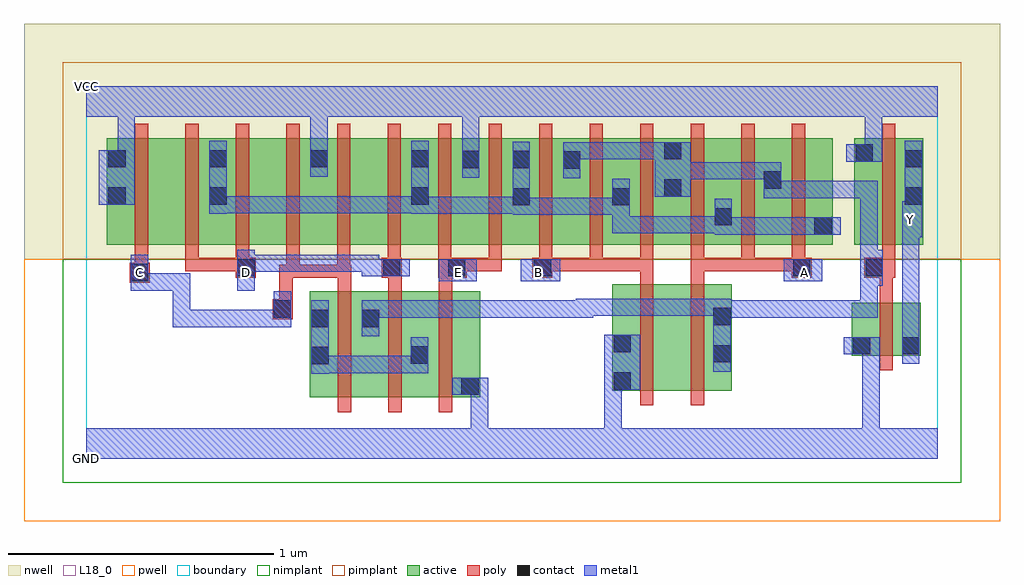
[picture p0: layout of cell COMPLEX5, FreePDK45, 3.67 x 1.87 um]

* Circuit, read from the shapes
.subckt COMPLEX5 A B C D E GND VCC Y
M1 n1 C n2 VSUBS nfet w=0.4u l=0.05u
M2 n2 D n1 VSUBS nfet w=0.4u l=0.05u
M3 GND E n2 VSUBS nfet w=0.4u l=0.05u
M4 n3 B GND VSUBS nfet w=0.4u l=0.05u
M5 n1 A n3 VSUBS nfet w=0.4u l=0.05u
M6 Y n1 GND VSUBS nfet w=0.2u l=0.05u
M7 n4 C VCC n5 pfet w=0.4u l=0.05u
M8 n6 D n4 n5 pfet w=0.4u l=0.05u
M9 n7 D n6 n5 pfet w=0.4u l=0.05u
M10 VCC C n7 n5 pfet w=0.4u l=0.05u
M11 n8 C VCC n5 pfet w=0.4u l=0.05u
M12 n6 D n8 n5 pfet w=0.4u l=0.05u
M13 VCC E n6 n5 pfet w=0.4u l=0.05u m=2
M14 n1 B n6 n5 pfet w=0.4u l=0.05u m=3
M15 n6 A n1 n5 pfet w=0.4u l=0.05u m=3
M16 Y n1 VCC n5 pfet w=0.4u l=0.05u
.ends

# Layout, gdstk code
import gdstk
lib = gdstk.Library(unit=1e-6, precision=1e-09)
def R(c, l, rs):  # rectangles x0, y0, x1, y1
    for r in rs: c.add(gdstk.rectangle(r[:2], r[2:], *l))
def A(c, l, x, y, w, h, nx, ny, dx, dy):  # array of equal rectangles
    R(c, l, [(x+i*dx, y+j*dy, x+i*dx+w, y+j*dy+h) for i in range(nx) for j in range(ny)])
active = (1, 0)
pwell = (2, 0)
nwell = (3, 0)
nimplant = (4, 0)
pimplant = (5, 0)
poly = (9, 0)
contact = (10, 0)
metal1 = (11, 0)
L18_0 = (18, 0)
boundary = (235, 0)

complex5 = lib.new_cell('COMPLEX5')
A(complex5, active, 0.077, 0.805, 0.225, 0.4, 3, 1, 0.38, 0)
A(complex5, active, 0.302, 0.805, 0.23, 0.4, 3, 1, 0.38, 0)
A(complex5, active, 1.217, 0.805, 0.265, 0.4, 3, 1, 0.19, 0)
R(complex5, active, [(0.84,0.23,1.105,0.63), (1.03,0.23,1.29,0.63), (1.215,0.23,1.48,0.63), (1.215,0.23,1.29,0.597), (1.405,0.23,1.48,0.63), (1.977,0.255,2.202,0.655), (1.977,0.255,2.052,0.655), (2.202,0.255,2.427,0.655), (0.84,0.295,0.915,0.63), (1.03,0.295,1.105,0.565), (2.352,0.295,2.427,0.655), (2.877,0.387,2.952,0.587), (2.877,0.387,3.137,0.587), (3.062,0.387,3.137,0.587), (0.077,0.805,0.152,1.205), (1.787,0.805,2.047,1.205), (1.972,0.805,2.047,1.07), (1.972,0.805,2.242,1.205), (2.167,0.805,2.432,1.205), (2.357,0.805,2.617,1.205), (2.357,0.805,2.432,1.07), (2.542,0.805,2.807,1.205), (2.732,0.805,2.807,1.047), (2.887,0.805,3.147,1.205), (3.072,0.805,3.147,1.2), (0.457,0.907,0.532,1.2), (0.837,0.907,0.912,1.205), (1.217,0.907,1.292,1.2), (1.407,0.907,1.482,1.205), (1.597,0.907,1.672,1.2), (1.787,0.907,1.862,1.2), (2.167,0.907,2.242,1.2), (2.542,0.907,2.617,1.2), (2.887,0.907,2.962,1.205)])
R(complex5, pwell, [(-0.235,-0.235,3.435,0.75)])
R(complex5, nwell, [(-0.235,0.75,3.435,1.635)])
R(complex5, nimplant, [(-0.09,-0.09,3.29,0.75)])
R(complex5, pimplant, [(-0.09,0.75,3.29,1.49)])
A(complex5, poly, 0.945, 0.175, 0.05, 0.51, 3, 1, 0.19, 0)
A(complex5, poly, 0.945, 0.635, 0.05, 0.095, 3, 1, 0.19, 0)
A(complex5, poly, 1.132, 0.705, 0.05, 0.095, 9, 1, 0.19, 0)
A(complex5, poly, 1.702, 0.705, 0.05, 0.05, 3, 1, 0.19, 0)
A(complex5, poly, 2.272, 0.705, 0.05, 0.05, 3, 1, 0.19, 0)
A(complex5, poly, 0.182, 0.75, 0.05, 0.51, 14, 1, 0.19, 0)
R(complex5, poly, [(2.082,0.2,2.132,0.71), (2.272,0.2,2.322,0.71), (2.982,0.332,3.032,0.642), (0.7,0.525,0.775,0.6), (0.725,0.55,0.775,0.73), (2.982,0.592,3.032,0.73), (2.082,0.66,2.132,0.755), (2.272,0.66,2.322,0.755), (0.162,0.662,0.237,0.737), (0.562,0.68,0.637,0.755), (0.725,0.68,0.775,0.73), (0.725,0.68,0.775,0.73), (0.725,0.68,0.802,0.73), (0.752,0.68,0.992,0.73), (0.752,0.68,0.802,0.8), (0.942,0.68,0.992,0.73), (0.942,0.68,0.992,0.73), (0.942,0.68,0.992,0.8), (0.942,0.68,0.995,0.73), (1.11,0.68,1.185,0.755), (1.322,0.68,1.43,0.755), (1.677,0.68,1.752,0.755), (2.652,0.68,2.727,0.755), (2.925,0.68,3.042,0.755), (0.182,0.687,0.232,0.8), (0.372,0.705,0.422,0.8), (0.372,0.705,0.422,0.755), (0.372,0.705,0.612,0.755), (0.562,0.705,0.612,0.8), (0.562,0.705,0.612,0.755), (0.562,0.705,0.612,0.755), (1.38,0.705,1.43,0.755), (1.38,0.705,1.43,0.755), (1.38,0.705,1.562,0.755), (1.512,0.705,1.562,0.755), (1.702,0.705,1.752,0.755), (1.702,0.705,1.942,0.755), (1.892,0.705,2.132,0.755), (2.082,0.705,2.132,0.755), (2.082,0.705,2.132,0.755), (2.272,0.705,2.322,0.755), (2.272,0.705,2.322,0.755), (2.272,0.705,2.512,0.755), (2.462,0.705,2.702,0.755), (2.652,0.705,2.702,0.755), (2.992,0.705,3.042,0.8), (2.992,0.75,3.042,1.26)])
A(complex5, contact, 0.082, 1.095, 0.065, 0.065, 4, 1, 0.38, 0)
R(complex5, contact, [(1.41,0.24,1.475,0.305), (1.982,0.26,2.047,0.325), (0.845,0.355,0.91,0.42), (1.22,0.357,1.285,0.422), (2.357,0.362,2.422,0.427), (2.882,0.392,2.947,0.457), (3.067,0.392,3.132,0.457), (1.982,0.4,2.047,0.465), (0.845,0.495,0.91,0.56), (1.035,0.495,1.1,0.56), (2.357,0.502,2.422,0.567), (0.705,0.53,0.77,0.595), (0.167,0.667,0.232,0.732), (0.567,0.685,0.632,0.75), (1.115,0.685,1.18,0.75), (1.36,0.685,1.425,0.75), (1.682,0.685,1.747,0.75), (2.657,0.685,2.722,0.75), (2.93,0.685,2.995,0.75), (2.737,0.842,2.802,0.907), (2.362,0.877,2.427,0.942), (1.602,0.952,1.667,1.017), (1.977,0.952,2.042,1.017), (0.082,0.955,0.147,1.02), (0.462,0.955,0.527,1.02), (1.222,0.955,1.287,1.02), (3.077,0.955,3.142,1.02), (2.172,0.985,2.237,1.05), (2.547,1.015,2.612,1.08), (1.792,1.09,1.857,1.155), (1.412,1.092,1.477,1.157), (1.602,1.092,1.667,1.157), (3.077,1.095,3.142,1.16), (2.892,1.117,2.957,1.182), (2.172,1.125,2.237,1.19)])
R(complex5, metal1, [(0,0,3.2,0.115), (1.445,0.05,1.51,0.115), (1.445,0.05,1.51,0.115), (1.445,0.05,1.51,0.305), (1.947,0.05,2.012,0.325), (1.947,0.05,2.012,0.115), (1.947,0.05,2.012,0.115), (2.917,0.05,2.982,0.115), (2.917,0.05,2.982,0.115), (2.917,0.05,2.982,0.115), (2.917,0.05,2.982,0.115), (2.917,0.05,2.982,0.457), (1.375,0.24,1.51,0.305), (1.947,0.26,2.082,0.465), (0.845,0.32,0.91,0.595), (0.845,0.322,0.91,0.387), (0.845,0.322,0.91,0.387), (0.845,0.322,1.1,0.387), (1.035,0.322,1.1,0.387), (1.035,0.322,1.1,0.387), (1.035,0.322,1.1,0.387), (1.035,0.322,1.285,0.387), (1.22,0.322,1.285,0.457), (2.357,0.327,2.422,0.602), (3.067,0.357,3.132,0.492), (2.847,0.392,2.982,0.457), (2.917,0.392,2.982,0.457), (2.917,0.392,2.982,0.457), (3.067,0.427,3.132,0.897), (1.035,0.46,1.1,0.595), (0.325,0.495,0.39,0.56), (0.325,0.495,0.527,0.56), (0.325,0.495,0.39,0.697), (0.462,0.495,0.527,0.56), (0.462,0.495,0.77,0.56), (0.705,0.495,0.77,0.63), (0.705,0.495,0.77,0.56), (0.705,0.495,0.77,0.56), (0.705,0.495,0.77,0.56), (0.705,0.495,0.77,0.56), (1.035,0.53,1.237,0.595), (1.172,0.53,1.237,0.595), (1.172,0.53,1.237,0.595), (1.172,0.53,1.237,0.595), (1.172,0.53,1.375,0.595), (1.31,0.53,1.375,0.595), (1.31,0.53,1.512,0.595), (1.447,0.53,1.512,0.595), (1.447,0.53,1.512,0.595), (1.447,0.53,1.512,0.595), (1.447,0.53,1.72,0.595), (1.655,0.53,1.72,0.595), (1.655,0.53,1.72,0.595), (1.655,0.53,1.72,0.595), (1.655,0.53,1.875,0.595), (1.81,0.53,1.875,0.595), (1.81,0.53,1.905,0.595), (1.84,0.53,1.905,0.602), (2.357,0.53,2.422,0.595), (2.357,0.53,2.422,0.595), (2.357,0.53,2.612,0.595), (2.547,0.53,2.612,0.595), (2.547,0.53,2.612,0.595), (2.547,0.53,2.612,0.595), (2.547,0.53,2.75,0.595), (2.685,0.53,2.75,0.595), (2.685,0.53,2.975,0.595), (2.91,0.53,2.975,0.595), (2.91,0.53,2.975,0.785), (1.84,0.537,2.065,0.602), (2,0.537,2.065,0.602), (2,0.537,2.065,0.602), (2,0.537,2.065,0.602), (2,0.537,2.22,0.602), (2.155,0.537,2.22,0.602), (2.155,0.537,2.22,0.602), (2.155,0.537,2.22,0.602), (2.155,0.537,2.422,0.602), (0.167,0.632,0.232,0.767), (0.167,0.632,0.232,0.697), (0.167,0.632,0.232,0.697), (0.167,0.632,0.39,0.697), (0.325,0.632,0.39,0.697), (0.325,0.632,0.39,0.697), (0.325,0.632,0.39,0.697), (0.567,0.632,0.632,0.785), (2.93,0.65,2.995,0.785), (1.325,0.667,1.467,0.75), (1.632,0.667,1.782,0.75), (2.622,0.667,2.767,0.75), (1.035,0.685,1.145,0.75), (1.035,0.685,1.1,0.767), (1.08,0.685,1.215,0.75), (0.567,0.702,0.77,0.767), (0.705,0.702,0.77,0.767), (0.705,0.702,0.77,0.767), (0.705,0.702,0.77,0.767), (0.705,0.702,0.962,0.767), (0.897,0.702,0.962,0.767), (0.897,0.702,0.962,0.767), (0.897,0.702,0.962,0.767), (0.897,0.702,1.1,0.767), (2.91,0.72,2.995,0.785), (2.91,0.72,2.975,0.785), (2.91,0.72,2.975,1.045), (3.067,0.832,3.142,0.967), (2.362,0.842,2.427,0.977), (2.362,0.842,2.427,0.907), (2.362,0.842,2.427,0.907), (2.362,0.842,2.565,0.907), (2.5,0.842,2.565,0.907), (2.5,0.842,2.565,0.907), (2.5,0.842,2.565,0.907), (2.5,0.842,2.767,0.907), (2.702,0.842,2.837,0.907), (1.977,0.847,2.042,0.982), (1.977,0.847,2.272,0.912), (2.207,0.847,2.272,0.912), (2.207,0.847,2.272,0.912), (2.207,0.847,2.272,0.912), (2.207,0.847,2.427,0.912), (3.077,0.902,3.142,0.985), (1.602,0.917,1.667,1.192), (1.602,0.917,1.667,0.982), (1.602,0.917,1.667,0.982), (1.602,0.917,1.857,0.982), (1.792,0.917,1.857,0.982), (1.792,0.917,1.857,0.982), (1.792,0.917,1.857,0.982), (1.792,0.917,2.042,0.982), (1.977,0.917,2.042,1.052), (1.977,0.917,2.042,0.982), (0.462,0.92,0.527,1.195), (1.222,0.92,1.287,1.195), (1.222,0.92,1.375,0.985), (1.31,0.92,1.375,0.985), (1.31,0.92,1.53,0.985), (1.465,0.92,1.53,0.985), (1.465,0.92,1.53,0.985), (1.465,0.92,1.53,0.985), (1.465,0.92,1.667,0.985), (3.077,0.92,3.142,1.195), (0.462,0.922,0.527,0.987), (0.462,0.922,0.527,0.987), (0.462,0.922,0.77,0.987), (0.705,0.922,0.77,0.987), (0.705,0.922,0.77,0.987), (0.705,0.922,0.77,0.987), (0.705,0.922,0.907,0.987), (0.842,0.922,0.907,0.987), (0.842,0.922,0.907,0.987), (0.842,0.922,0.907,0.987), (0.842,0.922,1.1,0.987), (1.035,0.922,1.1,0.987), (1.035,0.922,1.1,0.987), (1.035,0.922,1.1,0.987), (1.035,0.922,1.287,0.987), (0.047,0.955,0.182,1.16), (2.547,0.98,2.612,1.115), (2.547,0.98,2.775,1.045), (2.71,0.98,2.775,1.045), (2.71,0.98,2.775,1.045), (2.71,0.98,2.775,1.045), (2.71,0.98,2.975,1.045), (2.91,0.98,2.975,1.045), (2.91,0.98,2.975,1.045), (2.91,0.98,2.975,1.045), (2.137,0.985,2.272,1.19), (2.207,1.05,2.272,1.115), (2.207,1.05,2.272,1.115), (2.207,1.05,2.41,1.115), (2.345,1.05,2.41,1.115), (2.345,1.05,2.41,1.115), (2.345,1.05,2.41,1.115), (2.345,1.05,2.612,1.115), (1.792,1.055,1.857,1.19), (1.412,1.057,1.477,1.192), (0.842,1.06,0.907,1.195), (0.117,1.095,0.182,1.35), (2.857,1.117,2.992,1.182), (2.927,1.117,2.992,1.35), (1.792,1.125,1.857,1.19), (1.792,1.125,1.857,1.19), (1.792,1.125,2.065,1.19), (2,1.125,2.065,1.19), (2,1.125,2.065,1.19), (2,1.125,2.065,1.19), (2,1.125,2.202,1.19), (1.412,1.127,1.477,1.35), (0.842,1.13,0.907,1.35), (0,1.285,3.2,1.4)])
R(complex5, L18_0, [(0,0,3.2,0.115), (1.445,0.05,1.51,0.305), (1.445,0.05,1.51,0.115), (1.445,0.05,1.51,0.115), (1.947,0.05,2.012,0.115), (1.947,0.05,2.012,0.115), (1.947,0.05,2.012,0.325), (2.917,0.05,2.982,0.115), (2.917,0.05,2.982,0.115), (2.917,0.05,2.982,0.115), (2.917,0.05,2.982,0.115), (2.917,0.05,2.982,0.457), (1.375,0.24,1.51,0.305), (1.947,0.26,2.082,0.465), (3.067,0.357,3.132,0.492), (2.847,0.392,2.982,0.457), (2.917,0.392,2.982,0.457), (2.917,0.392,2.982,0.457), (3.067,0.427,3.132,0.897), (0.325,0.495,0.39,0.56), (0.325,0.495,0.39,0.697), (0.325,0.495,0.527,0.56), (0.462,0.495,0.527,0.56), (0.462,0.495,0.77,0.56), (0.705,0.495,0.77,0.63), (0.705,0.495,0.77,0.56), (0.705,0.495,0.77,0.56), (0.705,0.495,0.77,0.56), (0.705,0.495,0.77,0.56), (0.167,0.632,0.232,0.767), (0.167,0.632,0.232,0.697), (0.167,0.632,0.232,0.697), (0.167,0.632,0.39,0.697), (0.325,0.632,0.39,0.697), (0.325,0.632,0.39,0.697), (0.325,0.632,0.39,0.697), (0.567,0.632,0.632,0.785), (0.167,0.667,0.232,0.732), (0.567,0.667,0.632,0.732), (1.325,0.667,1.467,0.75), (1.367,0.667,1.432,0.732), (1.632,0.667,1.782,0.75), (1.667,0.667,1.732,0.732), (2.622,0.667,2.767,0.75), (2.667,0.667,2.732,0.732), (1.035,0.685,1.1,0.767), (1.035,0.685,1.145,0.75), (1.08,0.685,1.215,0.75), (0.567,0.702,0.77,0.767), (0.705,0.702,0.77,0.767), (0.705,0.702,0.77,0.767), (0.705,0.702,0.77,0.767), (0.705,0.702,0.962,0.767), (0.897,0.702,0.962,0.767), (0.897,0.702,0.962,0.767), (0.897,0.702,0.962,0.767), (0.897,0.702,1.1,0.767), (3.067,0.832,3.142,0.967), (3.067,0.867,3.132,0.932), (3.077,0.902,3.142,0.985), (3.077,0.92,3.142,1.195), (0.047,0.955,0.182,1.16), (1.412,1.057,1.477,1.192), (0.842,1.06,0.907,1.195), (0.117,1.095,0.182,1.35), (2.857,1.117,2.992,1.182), (2.927,1.117,2.992,1.35), (1.412,1.127,1.477,1.35), (0.842,1.13,0.907,1.35), (0,1.285,3.2,1.4)])
R(complex5, boundary, [(0,0,3.2,1.4)])
complex5.add(gdstk.Label('A', (2.7,0.7), layer=11, texttype=0))
complex5.add(gdstk.Label('B', (1.7,0.7), layer=11, texttype=0))
complex5.add(gdstk.Label('C', (0.2,0.7), layer=11, texttype=0))
complex5.add(gdstk.Label('D', (0.6,0.7), layer=11, texttype=0))
complex5.add(gdstk.Label('E', (1.4,0.7), layer=11, texttype=0))
complex5.add(gdstk.Label('Y', (3.1,0.9), layer=11, texttype=0))
complex5.add(gdstk.Label('VCC', (0,1.4), layer=11, texttype=0))
complex5.add(gdstk.Label('GND', (0,0), layer=11, texttype=0))

lib.write_gds('COMPLEX5.gds')
